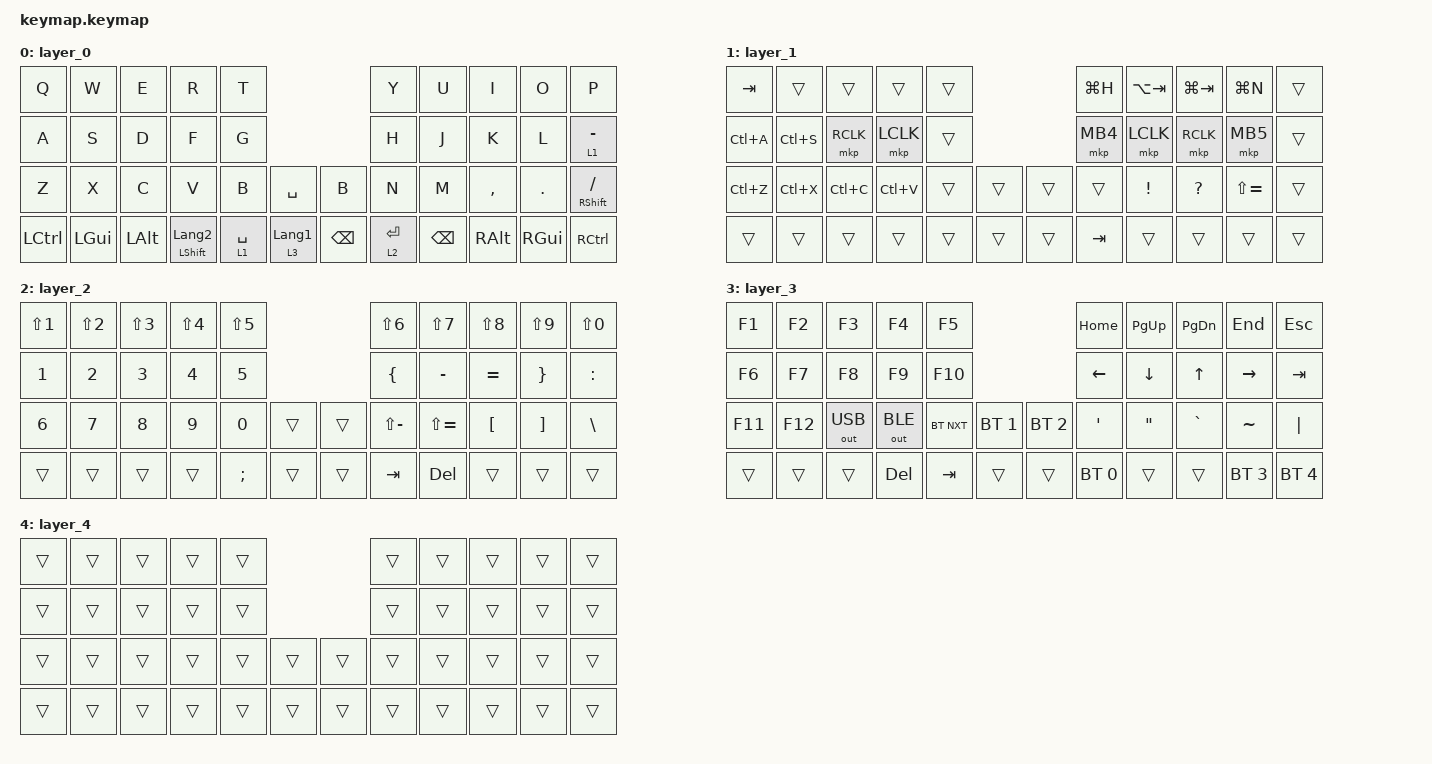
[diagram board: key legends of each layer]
#include <behaviors.dtsi>
#include <dt-bindings/zmk/bt.h>
#include <dt-bindings/zmk/keys.h>
#include <dt-bindings/zmk/outputs.h>
#include <dt-bindings/zmk/pointing.h>

/ {
    combos {
        compatible = "zmk,combos";

        bt_clear {
            bindings = <&bt BT_CLR>;
            key-positions = <28 29>;
            layers = <2>;
        };

        jk_leftclick {
            bindings = <&mkp LCLK>;
            key-positions = <16 17>;
            layers = <0>;
        };

        kl_rightclick {
            bindings = <&mkp RCLK>;
            key-positions = <17 18>;
            layers = <0>;
        };

        sd_backforward_toggle {
            bindings = <&tog 4>;
            key-positions = <11 12>;
            layers = <0 4>;
        };

        ui_wheelclick {
            bindings = <&mkp MCLK>;
            key-positions = <6 7>;
            layers = <0>;
        };
    };

    keymap {
        compatible = "zmk,keymap";

        layer_0 {
            bindings = <
                &kp Q      &kp W     &kp E     &kp R                     &kp T                                                     &kp Y        &kp U      &kp I       &kp O     &kp P
                &kp A      &kp S     &kp D     &kp F                     &kp G                                                     &kp H        &kp J      &kp K       &kp L     &lt 1 MINUS
                &kp Z      &kp X     &kp C     &kp V                     &kp B        &kp SPACE             &kp B                  &kp N        &kp M      &kp COMMA   &kp DOT   &mt RIGHT_SHIFT FSLH
                &kp LCTRL  &kp LGUI  &kp LALT  &mt LEFT_SHIFT LANGUAGE_2 &lt 1 SPACE  &lt 3 LANGUAGE_1      &kp BSPC  &lt 2 ENTER  &kp BSPC     &kp RALT   &kp RGUI    &kp RCTRL
            >;
        };


        layer_1 {
            bindings = <
                &kp TAB  &trans  &trans     &trans     &trans                  &kp LG(H)  &kp LA(TAB)  &kp LG(TAB)  &kp LG(N)  &trans
                &kp LC(A)  &kp LC(S)  &mkp RCLK  &mkp LCLK  &trans                  &mkp MB4   &mkp LCLK    &mkp RCLK    &mkp MB5   &trans
                &kp LC(Z)  &kp LC(X)  &kp LC(C)  &kp LC(V)  &trans  &trans  &trans  &trans  &kp EXCL   &kp QMARK  &kp LS(EQUAL)  &trans
                &trans  &trans  &trans     &trans     &trans  &trans  &trans  &kp TAB &trans     &trans     &trans  &trans
            >;
        };

        layer_2 {
            bindings = <
                &kp LS(NUMBER_1)  &kp LS(NUMBER_2)  &kp LS(N3)  &kp LS(N4)  &kp LS(N5)                  &kp LS(N6)      &kp LS(N7)     &kp LS(N8)        &kp LS(N9)         &kp LS(N0) 
                &kp N1            &kp N2            &kp N3      &kp N4      &kp N5                      &kp LEFT_BRACE  &kp MINUS      &kp EQUAL         &kp RIGHT_BRACE    &kp COLON 
                &kp N6            &kp N7            &kp N8      &kp N9      &kp N0      &trans  &trans  &kp LS(MINUS)   &kp LS(EQUAL)  &kp LEFT_BRACKET  &kp RIGHT_BRACKET  &kp BACKSLASH 
                &trans            &trans            &trans      &trans      &kp SEMI    &trans  &trans  &kp TAB         &kp DEL       &trans            &trans             &trans  
            >;
        };

        layer_3 {
            bindings = <
                &kp F1   &kp F2   &kp F3        &kp F4        &kp F5                      &kp HOME          &kp PG_UP  &kp PAGE_DOWN  &kp END    &kp ESCAPE
                &kp F6   &kp F7   &kp F8        &kp F9        &kp F10                     &kp LEFT          &kp DOWN   &kp UP_ARROW   &kp RIGHT  &kp TAB 
                &kp F11  &kp F12  &out OUT_USB  &out OUT_BLE  &bt BT_NXT  &bt BT_SEL 1  &bt BT_SEL 2  &kp SINGLE_QUOTE  &kp DQT    &kp GRAVE      &kp TILDE  &kp PIPE
                &trans   &trans   &trans        &kp DELETE    &kp TAB     &trans  &trans  &bt BT_SEL 0      &trans  &trans   &bt BT_SEL 3  &bt BT_SEL 4
            >;
        };

        layer_4 {
            bindings = <
                &trans  &trans  &trans  &trans  &trans                  &trans  &trans  &trans  &trans  &trans
                &trans  &trans  &trans  &trans  &trans                  &trans  &trans  &trans  &trans  &trans
                &trans  &trans  &trans  &trans  &trans  &trans  &trans  &trans  &trans  &trans  &trans  &trans
                &trans  &trans  &trans  &trans  &trans  &trans  &trans  &trans  &trans  &trans  &trans  &trans
            >;
        };
    };
};

